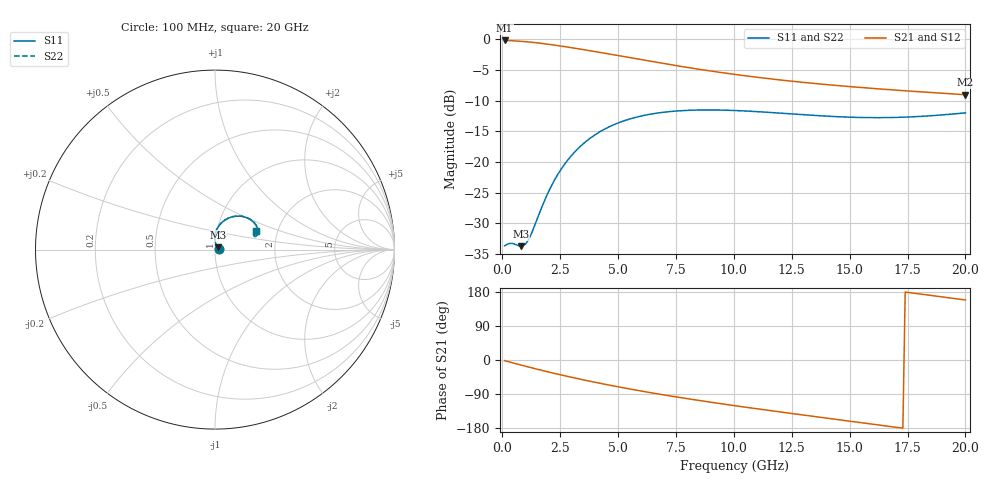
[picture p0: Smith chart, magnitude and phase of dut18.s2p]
! Touchstone file exported from HFSS 2024.1.0
!  File:  C:/UserFiles/LocalFiles/RDL_TSV_Batchsim/temp_RDL_TSV_18_1779398933.aedt
!  Generated:  05:48:48 AM May 22, 2026
!  Design:  RDL_TSV
!  Project:  temp_RDL_TSV_18_1779398933
!  Setup:  Setup1
!  Solution:  Sweep
! Variables:
!  dtsv = 7.4um
!  hbump = 3um
!  htsv = 86.7um
!  ldown = 334.45um
!  lrdl = 435.83um
!  p = 40
!  p1 = 45.8um
!  rhole = 10um
!  subl = 2746.67um
!  t = 450um
!  tdown = 2.68um
!  trdl = 3.1um
!  viad = 10um
!  wdown = 10.32um
!  wrdl = 29.52um
!  xbump = 18um
# GHz S MA R 50.000000
! Terminal data exported
! Port[1] = TM1_1_T1
! Port[2] = TM1_4_T1
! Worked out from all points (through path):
!   200 points, 100 MHz to 20 GHz, reference 50 ohm
!   highest |S21| = -0.18 dB at 100 MHz (marker M1); lowest = -9.0 dB at 20 GHz (marker M2)
!   group delay of S21, straight-line fit = 26.5 ps
!   lowest |S11| = -33.7 dB at 800 MHz (marker M3), VSWR 1.04, Z = 51.6 + j1.28 ohm
!   |S11| at or under -10 dB: start of sweep to end of sweep
!   |S22| runs from -33.8 to -11.5 dB; largest |S21 - S12| = 1e-14
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0.1  0.02068 5.7  0.9791 -1.7  0.9791 -1.7  0.02068 5.7
! Gamma 0 0 0 0
! Port Impedance 50 0 50 0
0.4  0.02167 17.1  0.9742 -6.7  0.9742 -6.7  0.02166 17.1
0.8  0.02055 37.1  0.9639 -13.2  0.9639 -13.2  0.02053 37.2
1  0.02137 52.4  0.9571 -16.4  0.9571 -16.4  0.02136 52.6
1.2  0.02459 67.5  0.9494 -19.6  0.9494 -19.6  0.0246 67.6
1.9  0.05211 90.2  0.9163 -30.2  0.9163 -30.2  0.05222 90.4
2.4  0.07919 90.1  0.889 -37.5  0.889 -37.5  0.07937 90.2
2.9  0.1077 86.0  0.8601 -44.4  0.8601 -44.4  0.108 86.1
3.5  0.1409 79.2  0.8247 -52.4  0.8247 -52.4  0.1413 79.3
4.2  0.1755 70.9  0.7833 -61.2  0.7833 -61.2  0.176 70.9
4.9  0.2043 62.8  0.7428 -69.6  0.7428 -69.6  0.2049 62.9
5.8  0.2321 53.4  0.6933 -79.8  0.6933 -79.8  0.2328 53.5
6.8  0.2519 44.4  0.6428 -90.3  0.6428 -90.3  0.2528 44.5
7.6  0.2608 38.3  0.6064 -98.3  0.6064 -98.3  0.2619 38.4
8.4  0.2649 33.0  0.5737 -105.9  0.5737 -105.9  0.266 33.1
10.1  0.2624 24.7  0.5156 -121.1  0.5156 -121.1  0.2637 24.8
11.7  0.2523 20.0  0.4731 -134.6  0.4731 -134.6  0.2539 20.1
13.4  0.24 18.1  0.4379 -148.5  0.4379 -148.5  0.2417 18.1
15  0.2317 18.7  0.4116 -161.4  0.4116 -161.4  0.2333 18.6
16.7  0.23 20.9  0.3888 -175.1  0.3888 -175.1  0.2316 20.8
18.3  0.2366 23.4  0.3705 172.1  0.3705 172.1  0.2381 23.1
20  0.2512 25.0  0.3535 158.4  0.3535 158.4  0.2525 24.7
